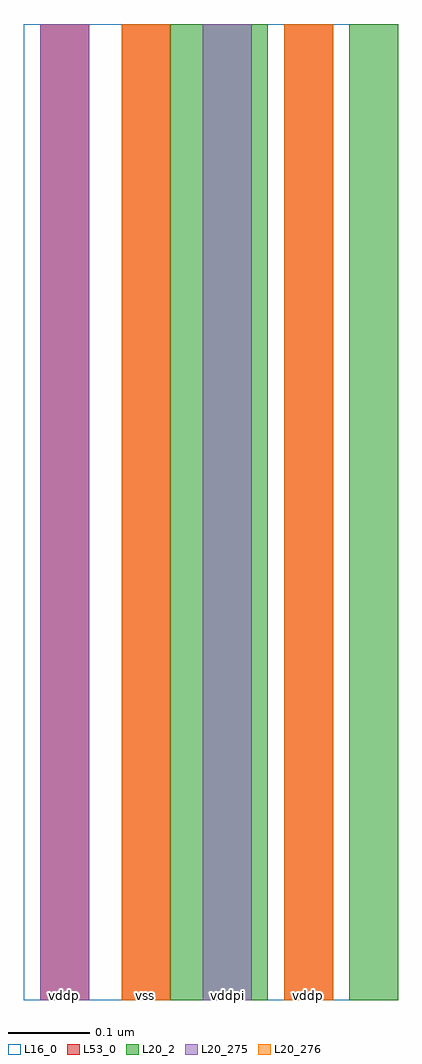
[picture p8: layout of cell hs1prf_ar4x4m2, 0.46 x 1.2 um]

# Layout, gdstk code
import gdstk
lib = gdstk.Library(unit=1e-6, precision=5e-10)
def R(c, l, rs):  # rectangles x0, y0, x1, y1
    for r in rs: c.add(gdstk.rectangle(r[:2], r[2:], *l))
L16_0 = (16, 0)
L20_2 = (20, 2)
L20_275 = (20, 275)
L20_276 = (20, 276)
L53_0 = (53, 0)

hs1prf_ar4x4m2 = lib.new_cell('hs1prf_ar4x4m2')
R(hs1prf_ar4x4m2, L16_0, [(0,0,0.46,1.2)])
R(hs1prf_ar4x4m2, L20_2, [(0.18,0,0.3,1.2), (0.4,0,0.46,1.2)])
R(hs1prf_ar4x4m2, L53_0, [(0.02,0,0.08,1.2), (0.12,0,0.18,1.2), (0.32,0,0.38,1.2)])
hs1prf_ar4x4m2.add(gdstk.FlexPath([(0.05,0),(0.05,1.2)], 0.06, ends="flush", simple_path=True, layer=20, datatype=275))  # L20_275
hs1prf_ar4x4m2.add(gdstk.FlexPath([(0.15,0),(0.15,1.2)], 0.06, ends="flush", simple_path=True, layer=20, datatype=276))  # L20_276
hs1prf_ar4x4m2.add(gdstk.FlexPath([(0.25,0),(0.25,1.2)], 0.06, ends="flush", simple_path=True, layer=20, datatype=275))  # L20_275
hs1prf_ar4x4m2.add(gdstk.FlexPath([(0.35,0),(0.35,1.2)], 0.06, ends="flush", simple_path=True, layer=20, datatype=276))  # L20_276
hs1prf_ar4x4m2.add(gdstk.Label('vddp', (0.05,0.005), layer=60, texttype=0))
hs1prf_ar4x4m2.add(gdstk.Label('vss', (0.15,0.005), layer=60, texttype=0))
hs1prf_ar4x4m2.add(gdstk.Label('vddpi', (0.25,0.005), layer=60, texttype=0))
hs1prf_ar4x4m2.add(gdstk.Label('vddp', (0.35,0.005), layer=60, texttype=0))

lib.write_gds('hs1prf_ar4x4m2.gds')
